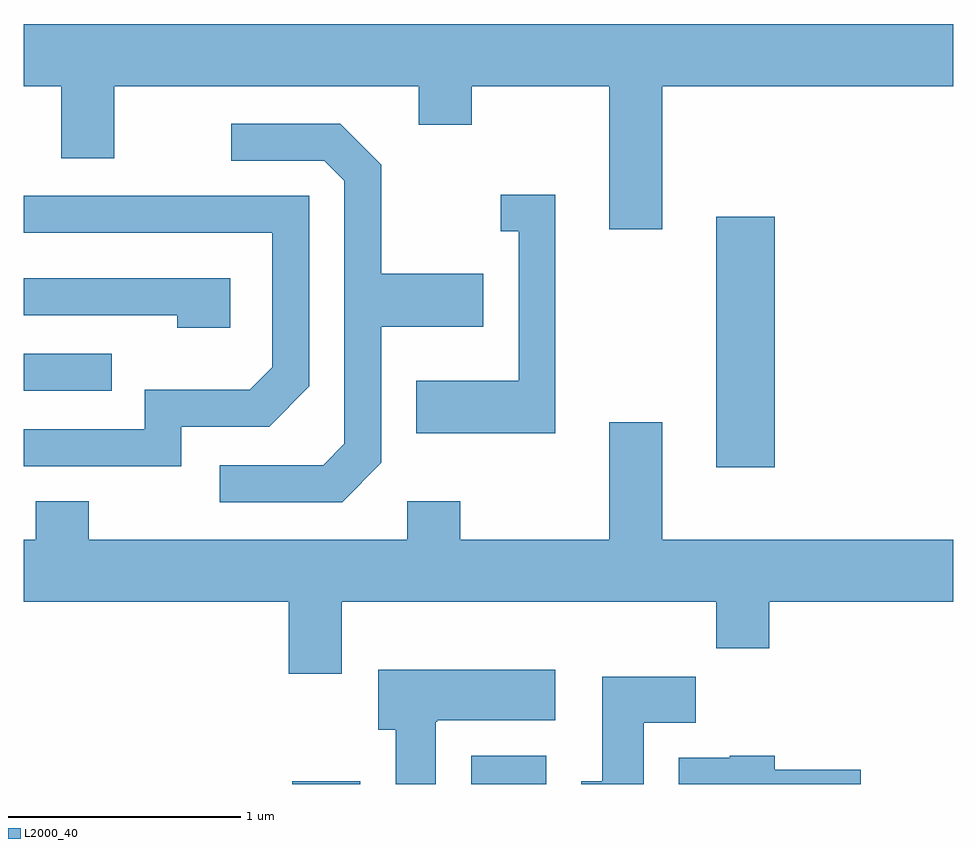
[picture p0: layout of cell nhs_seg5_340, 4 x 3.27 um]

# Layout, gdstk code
import gdstk
lib = gdstk.Library(unit=1e-6, precision=1e-09)
def R(c, l, rs):  # rectangles x0, y0, x1, y1
    for r in rs: c.add(gdstk.rectangle(r[:2], r[2:], *l))
def P(c, l, *ps):  # polygons
    for p in ps: c.add(gdstk.Polygon(p, *l))
L2000_40 = (2000, 40)

nhs_seg5_340 = lib.new_cell('nhs_seg5_340')
R(nhs_seg5_340, L2000_40, [(196.766,1396.072,197.059,1396.084), (197.536,1396.072,197.859,1396.194), (198.591,1397.436,198.844,1398.514), (195.611,1397.766,195.988,1397.924)])
P(nhs_seg5_340, L2000_40, [(198.359,1399.076),(199.611,1399.076),(199.611,1399.344),(195.611,1399.344),(195.611,1399.076),(195.771,1399.076),(195.771,1398.766),(195.999,1398.766),(195.999,1399.076),(197.311,1399.076),(197.311,1398.911),(197.539,1398.911),(197.539,1399.076),(198.131,1399.076),(198.131,1398.461),(198.359,1398.461)],
  [(197.149,1397.454),(197.149,1398.041),(197.589,1398.041),(197.589,1398.269),(197.149,1398.269),(197.149,1398.737),(196.972,1398.914),(196.503,1398.914),(196.503,1398.756),(196.904,1398.756),(196.991,1398.669),(196.991,1397.537),(196.899,1397.444),(196.453,1397.444),(196.453,1397.286),(196.982,1397.286)],
  [(197.899,1398.609),(197.663,1398.609),(197.663,1398.451),(197.741,1398.451),(197.741,1397.809),(197.301,1397.809),(197.301,1397.581),(197.899,1397.581)],
  [(196.289,1397.611),(196.667,1397.611),(196.839,1397.784),(196.839,1398.604),(195.611,1398.604),(195.611,1398.446),(196.681,1398.446),(196.681,1397.867),(196.584,1397.769),(196.131,1397.769),(196.131,1397.599),(195.611,1397.599),(195.611,1397.441),(196.289,1397.441)],
  [(196.499,1398.249),(195.611,1398.249),(195.611,1398.091),(196.271,1398.091),(196.271,1398.036),(196.499,1398.036)],
  [(196.979,1396.856),(198.591,1396.856),(198.591,1396.656),(198.819,1396.656),(198.819,1396.856),(199.611,1396.856),(199.611,1397.124),(198.359,1397.124),(198.359,1397.629),(198.131,1397.629),(198.131,1397.124),(197.489,1397.124),(197.489,1397.289),(197.261,1397.289),(197.261,1397.124),(195.889,1397.124),(195.889,1397.289),(195.661,1397.289),(195.661,1397.124),(195.611,1397.124),(195.611,1396.856),(196.751,1396.856),(196.751,1396.546),(196.979,1396.546)],
  [(197.384,1396.34),(197.39,1396.34),(197.39,1396.346),(197.899,1396.346),(197.899,1396.564),(197.136,1396.564),(197.136,1396.306),(197.211,1396.306),(197.211,1396.072),(197.384,1396.072)],
  [(198.279,1396.336),(198.504,1396.336),(198.504,1396.534),(198.101,1396.534),(198.101,1396.084),(198.011,1396.084),(198.011,1396.072),(198.279,1396.072)],
  [(199.214,1396.134),(198.844,1396.134),(198.844,1396.194),(198.65,1396.194),(198.65,1396.184),(198.431,1396.184),(198.431,1396.072),(199.214,1396.072)])

lib.write_gds('nhs_seg5_340.gds')
